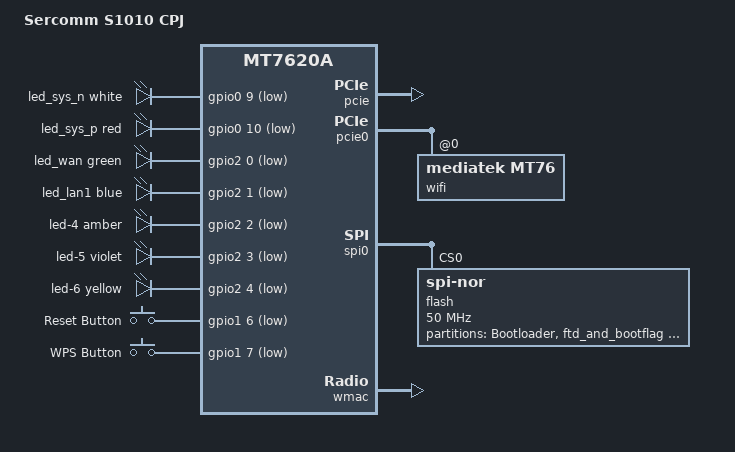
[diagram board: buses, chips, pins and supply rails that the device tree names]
// SPDX-License-Identifier: GPL-2.0-or-later

#include "mt7620a.dtsi"

#include <dt-bindings/gpio/gpio.h>
#include <dt-bindings/input/input.h>
#include <dt-bindings/leds/common.h>

/ {
	compatible = "sercomm,s1010_cpj", "ralink,mt7620a-soc";
	model = "Sercomm S1010 CPJ";

	aliases {
		led-boot = &led_sys_n;
		led-failsafe = &led_sys_p;
		led-running = &led_wan;
		led-upgrade = &led_lan1;
		label-mac-device = &ethernet;
	};

	leds {
		compatible = "gpio-leds";
        // ToDo LED: узнать
        // Уровень активации
        // Цвета
        // Смещение GPIO
		// Gpio0 0-23
		// gpio1 24-39 = 0-15
		// gpio2 40-71 = 0-31
		// gpio3 72 = 0
        // https://openwrt.org/docs/techref/hardware/port.gpio#software
		// DataSheet MT7620 
		// https://w.electrodragon.com/w/images/3/34/MT7620_Datasheet.pdf

		led_sys_n: led-0 { // LED_SYS_N - GPIO 9 [UARTF-CTS_N]
			color = <LED_COLOR_ID_WHITE>;
			function = LED_FUNCTION_STATUS;
			gpios = <&gpio0 9 GPIO_ACTIVE_LOW>;
		};

		led_sys_p: led-1 { // LED_SYS_P - GPIO 10 [UARTF-RXD]
			color = <LED_COLOR_ID_RED>;
			function = LED_FUNCTION_PANIC;
			gpios = <&gpio0 10 GPIO_ACTIVE_LOW>;
			panic-indicator;
		};

		led_wan: led-2 { // LED_WAN - GPIO 40 [SW_PHY_LED/JTAG-EPHY_LED0_N_JTDO]
			color = <LED_COLOR_ID_GREEN>;
			function = LED_FUNCTION_WAN;
			gpios = <&gpio2 0 GPIO_ACTIVE_LOW>;
		};

		led_lan1: led-3 { // LED_LAN1 - GPIO 41 [SW_PHY_LED/JTAG-EPHY_LED1_N_JTDI]
			color = <LED_COLOR_ID_BLUE>;
			function = LED_FUNCTION_LAN;
			gpios = <&gpio2 1 GPIO_ACTIVE_LOW>;
		};

		led-4 { // LED_LAN2 - GPIO 42 [SW_PHY_LED/JTAG-EPHY_LED2_N_JTMS]
			color = <LED_COLOR_ID_AMBER>;
			function = LED_FUNCTION_LAN;
			gpios = <&gpio2 2 GPIO_ACTIVE_LOW>;
		};

		led-5 { // LED_LAN3 - GPIO 43 [SW_PHY_LED/JTAG-EPHY_LED3_N_JTCLK]
			color = <LED_COLOR_ID_VIOLET>;
			function = LED_FUNCTION_LAN;
			gpios = <&gpio2 3 GPIO_ACTIVE_LOW>;
		};

		led-6 { // LED_LAN4 - GPIO 44 [SW_PHY_LED/JTAG-EPHY_LED4_N_JTRST_N]
			color = <LED_COLOR_ID_YELLOW>;
			function = LED_FUNCTION_LAN;
			gpios = <&gpio2 4 GPIO_ACTIVE_LOW>;
		};

		/* led-7 { // LED_WIFI_2G - GPIO ?
			color = <LED_COLOR_ID_WHITE>;
			function = LED_FUNCTION_WLAN;
			gpios = <&gpio? ? GPIO_ACTIVE_LOW>;
		};

		led-8 { // LED_WIFI_5G - GPIO ?
			color = <LED_COLOR_ID_WHITE>;
			function = LED_FUNCTION_WLAN;
			gpios = <&gpio? ? GPIO_ACTIVE_LOW>;
		}; */
	};

	keys {
		compatible = "gpio-keys";

		reset { // RESET_BUTTON - GPIO 30 [RGMII1-GE1_RXD0]
			label = "Reset Button";
			gpios = <&gpio1 6 GPIO_ACTIVE_LOW>;
			linux,code = <KEY_RESTART>;
		}; // Если будет постоянно reboot значит поставить HIGH

		wps { // WPS_BUTTON - GPIO 31 [RGMII1-GE1_RXD1]
			label = "WPS Button";
			gpios = <&gpio1 7 GPIO_ACTIVE_LOW>;
			linux,code = <KEY_WPS_BUTTON>;
		};
	};
};

&ethernet {
	nvmem-cells = <&macaddr_nvram_0>;
	nvmem-cell-names = "mac-address";
	// TODO Eth: узнать отличия MAC
	// LAN = nvram = label
	// WAN = ?
	// 2.4 GHz = ?LAN+2
	// 5 GHz = ?
};

&gpio0 {
	status = "okay";
};

&gpio1 {
	status = "okay";
};

&gpio2 {
	status = "okay";
};

&pcie {
	status = "okay";
};

&pcie0 { // MT7612E
	wifi@0,0 {
		compatible = "mediatek,mt76";
		reg = <0x0000 0 0 0 0>;
		ieee80211-freq-limit = <5000000 6000000>;
		mediatek,mtd-eeprom = <&factory 0x8000>;

		nvmem-cells = <&macaddr_nvram_0>;
		nvmem-cell-names = "mac-address";
		mac-address-increment = <2>;
	};
};

&spi0 {
	status = "okay";

	flash@0 {
		compatible = "jedec,spi-nor";
		reg = <0>;
		spi-max-frequency = <50000000>; // ??
		// m25p,fast-read; ??

		partitions {
			compatible = "fixed-partitions";
			#address-cells = <1>;
			#size-cells = <1>;

			partition@0 {
				label = "Bootloader";
				reg = <0x0 0x30000>;
				read-only;
				// Проверить куда сохраняет saveenv
				// U-boot Env
			};

			partition@30000 {
				label = "ftd_and_bootflag";
				reg = <0x30000 0x20000>;
				// 0xFFFF
				// 0x18000 (0x8) = BootFlag (Sercomm0)
				// 0x19000 (0x8) = CRC? FTD?
				// 0x0000
			};

			factory: partition@50000 {
				label = "Factory";
				reg = <0x50000 0x10000>;
				read-only;
				// 0x0 (0x200) - cal 7605
				// 0x8000 (0x200) - cal 7601
			};

			partition@60000 {
				label = "SC Nvram(permanent data)";
				reg = <0x60000 0x10000>;
				read-only;

				compatible = "nvmem-cells";
				#address-cells = <1>;
				#size-cells = <1>;

				macaddr_nvram_0: macaddr@0 {
					reg = <0x0 0x6>;
				};
				// 0x0 (0x6) - MAC
				// 0x10 (0x1c) - CSN
				// 0x60 (0x1c) - PCBASN
				// 0x80 (0x1c) - SSID
				// 0xA0 (0x8) - PASS?
				// 0xE0 (0x8) - PASS?
			};

			partition@70000 {
				compatible = "denx,uimage";
				label = "firmware";
				reg = <0x70000 0x790000>;

				compatible = "fixed-partitions";
				#address-cells = <1>;
				#size-cells = <1>;

				partition@0 {
					label = "Kernel";
					reg = <0x0 0x200000>;
					// reg = <0x70000 0x200000>;
					// Оставлено, на всякий.
					// К примеру править сток из initramfs
				};

				partition@200000 {
					label = "RootFS";
					reg = <0x200000 0x590000>;
					// reg = <0x270000 0x590000>;
				};
			};

			partition@1000000 {
				label = "Dummy(not used)";
				reg = <0x1000000 0x0>;
				read-only;
			};

			partition@800000 {
				label = "Kernel2";
				reg = <0x800000 0x200000>;
				read-only;
			};

			partition@a00000 {
				label = "RootFS2";
				reg = <0xa00000 0x590000>;
				read-only;
			};

			partition@f90000 { // concat
				label = "MAC IP";
				reg = <0xf90000 0x10000>;
			};

			partition@f90000 { // concat
				label = "Critical Log";
				reg = <0xfa0000 0x10000>;
			};

			partition@f90000 {
				label = "Critical Log Bak";
				reg = <0xfb0000 0x10000>;
				read-only;
			};

			partition@f90000 { // concat
				label = "Xml Config";
				reg = <0xfc0000 0x20000>;
			};

			partition@f90000 {
				label = "Xml Config Bak";
				reg = <0xfe0000 0x20000>;
				read-only;
			};
		};
	};
};

&state_default {
	gpio {
		groups = "uartf", "ephy", "rgmii1"; 
		// проверить влияет ли rgmii1 на switch при запуске
		function = "gpio";
	};
};

&wmac {
	ralink,mtd-eeprom = <&factory 0x0>;
};
